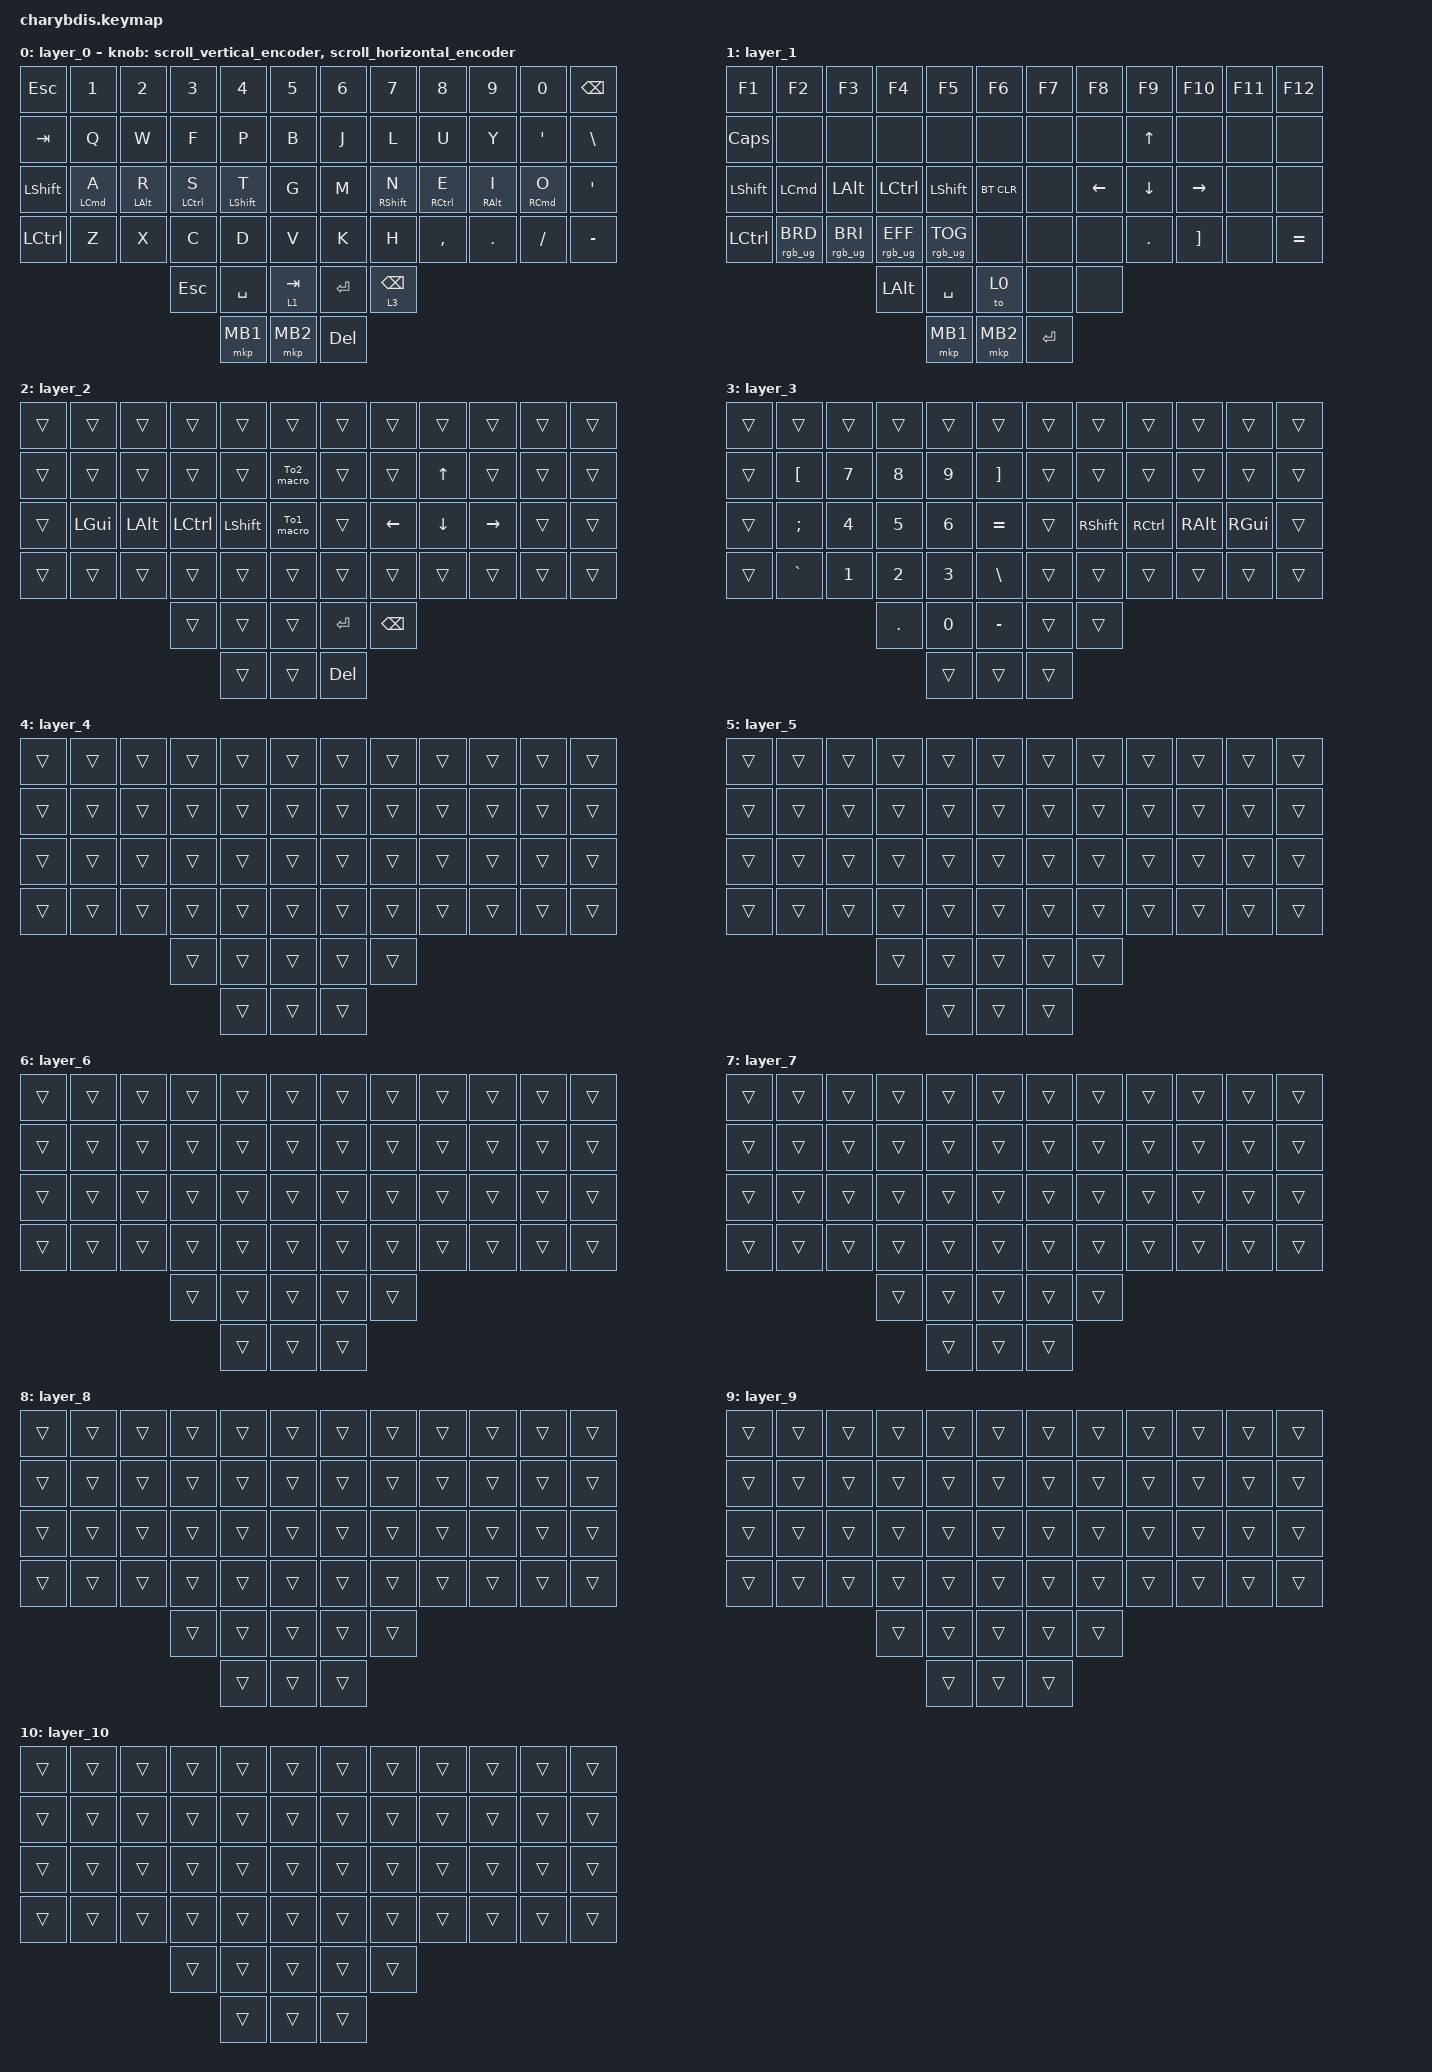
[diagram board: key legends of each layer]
#include <dt-bindings/zmk/mouse.h>
#include <input/processors.dtsi>
#include <zephyr/dt-bindings/input/input-event-codes.h>
#include <behaviors.dtsi>
#include <dt-bindings/zmk/bt.h>
#include <dt-bindings/zmk/keys.h>
#include <dt-bindings/zmk/pointing.h>
#include <dt-bindings/zmk/rgb.h>

#define ZMK_POINTING_DEFAULT_MOVE_VAL 1000 // 600
#define ZMK_POINTING_DEFAULT_SCRL_VAL 12   // 10

&lt {
    tapping-term-ms = <200>;
    flavor = "balanced";
    quick-tap-ms = <150>;
};

&mmv_input_listener { input-processors = <&zip_xy_scaler 2 1>; };

&msc_input_listener { input-processors = <&zip_scroll_scaler 2 1>; };

&msc {
    acceleration-exponent = <0>;      // 0
    time-to-max-speed-ms = <100>;       // 300
    delay-ms = <0>;                   // 0
};

&mmv {
    time-to-max-speed-ms = <500>;
    acceleration-exponent = <1>;
    trigger-period-ms = <16>;
};

/ {
    // 上下滚动编码器行为

    scroll_vertical_encoder: scroll_vertical_encoder {
        compatible = "zmk,behavior-sensor-rotate";
        #sensor-binding-cells = <0>;
        bindings = <&msc SCRL_DOWN>, <&msc SCRL_UP>;

        tap-ms = <100>;
    };

    // 左右滚动编码器行为

    scroll_horizontal_encoder: scroll_horizontal_encoder {
        compatible = "zmk,behavior-sensor-rotate";
        #sensor-binding-cells = <0>;
        bindings = <&msc SCRL_LEFT>, <&msc SCRL_RIGHT>;

        tap-ms = <100>;
    };

    behaviors {
    };

    macros {
        To1_macro: To1_macro {
            compatible = "zmk,behavior-macro";
            label = "To1_macro";
            #binding-cells = <0>;
            bindings = <&kp LEFT_COMMAND &kp LEFT_SHIFT &kp NUMBER_3>;
        };

        To1_macro_A: To1_macro_A {
            compatible = "zmk,behavior-macro";
            label = "To1_macro_A";
            #binding-cells = <0>;
            bindings = <&rgb_ug RGB_COLOR_HSB(128,100,50) &to 1>;
        };

        To0_macro: To0_macro {
            compatible = "zmk,behavior-macro";
            label = "To0_macro";
            #binding-cells = <0>;
            bindings = <&rgb_ug RGB_EFR &to 0>;
        };

        To2_macro_A: To2_macro_A {
            compatible = "zmk,behavior-macro";
            label = "To2_macro_A";
            #binding-cells = <0>;
            bindings = <&kp LEFT_COMMAND &kp LEFT_SHIFT &kp NUMBER_4>;
        };

        To2_macro: To2_macro {
            compatible = "zmk,behavior-macro";
            label = "To2_macro";
            #binding-cells = <0>;
            bindings = <&rgb_ug RGB_EFF &rgb_ug RGB_COLOR_HSB(250,100,50) &to 2>;
        };
    };

    keymap {
        compatible = "zmk,keymap";

        layer_0 {
            bindings = <
&kp ESC         &kp N1              &kp N2          &kp N3              &kp N4            &kp N5       &kp N6     &kp N7             &kp N8               &kp N9           &kp N0               &kp BACKSPACE
&kp TAB         &kp Q               &kp W           &kp F               &kp P             &kp B        &kp J      &kp L              &kp U                &kp Y            &kp SQT              &kp BSLH
&kp LEFT_SHIFT  &mt LEFT_COMMAND A  &mt LEFT_ALT R  &mt LEFT_CONTROL S  &mt LEFT_SHIFT T  &kp G        &kp M      &mt RIGHT_SHIFT N  &mt RIGHT_CONTROL E  &mt RIGHT_ALT I  &mt RIGHT_COMMAND O  &kp SQT
&kp LCTRL       &kp Z               &kp X           &kp C               &kp D             &kp V        &kp K      &kp H              &kp COMMA            &kp PERIOD       &kp FSLH             &kp MINUS
                                                    &kp ESC             &kp SPACE         &lt 1 TAB    &kp ENTER  &lt 3 BACKSPACE
                                                                        &mkp MB1          &mkp MB2     &kp DEL
            >;

            sensor-bindings =
                <&scroll_vertical_encoder>,
                // 编码器1：上下滚动,,,
                <&scroll_horizontal_encoder>;

            // 编码器2：左右滚动
        };

        layer_1 {
            bindings = <
&kp F1          &kp F2            &kp F3           &kp F4            &kp F5           &kp F6        &kp F7     &kp F8    &kp F9      &kp F10            &kp F11  &kp F12
&kp CAPS        &none             &none            &none             &none            &none         &none      &none     &kp UP      &none              &none    &none
&kp LEFT_SHIFT  &kp LEFT_COMMAND  &kp LEFT_ALT     &kp LEFT_CONTROL  &kp LEFT_SHIFT   &bt BT_CLR    &none      &kp LEFT  &kp DOWN    &kp RIGHT          &none    &none
&kp LCTRL       &rgb_ug RGB_BRD   &rgb_ug RGB_BRI  &rgb_ug RGB_EFF   &rgb_ug RGB_TOG  &none         &none      &none     &kp PERIOD  &kp RIGHT_BRACKET  &none    &kp EQUAL
                                                   &kp LEFT_ALT      &kp SPACE        &to 0         &none      &none
                                                                     &mkp MB1         &mkp MB2      &kp ENTER
            >;
        };

        layer_2 {
            bindings = <
&trans  &trans    &trans    &trans     &trans     &trans        &trans      &trans    &trans        &trans     &trans  &trans
&trans  &trans    &trans    &trans     &trans     &To2_macro    &trans      &trans    &kp UP_ARROW  &trans     &trans  &trans
&trans  &kp LGUI  &kp LALT  &kp LCTRL  &kp LSHFT  &To1_macro    &trans      &kp LEFT  &kp DOWN      &kp RIGHT  &trans  &trans
&trans  &trans    &trans    &trans     &trans     &trans        &trans      &trans    &trans        &trans     &trans  &trans
                            &trans     &trans     &trans        &kp ENTER   &kp BSPC
                                       &trans     &trans        &kp DELETE
            >;
        };

        layer_3 {
            bindings = <
&trans  &trans     &trans  &trans   &trans  &trans       &trans  &trans     &trans     &trans    &trans    &trans
&trans  &kp LBKT   &kp N7  &kp N8   &kp N9  &kp RBKT     &trans  &trans     &trans     &trans    &trans    &trans
&trans  &kp SEMI   &kp N4  &kp N5   &kp N6  &kp EQUAL    &trans  &kp RSHFT  &kp RCTRL  &kp RALT  &kp RGUI  &trans
&trans  &kp GRAVE  &kp N1  &kp N2   &kp N3  &kp BSLH     &trans  &trans     &trans     &trans    &trans    &trans
                           &kp DOT  &kp N0  &kp MINUS    &trans  &trans
                                    &trans  &trans       &trans
            >;
        };

        layer_4 {
            bindings = <
&trans  &trans  &trans  &trans  &trans  &trans    &trans  &trans  &trans  &trans  &trans  &trans
&trans  &trans  &trans  &trans  &trans  &trans    &trans  &trans  &trans  &trans  &trans  &trans
&trans  &trans  &trans  &trans  &trans  &trans    &trans  &trans  &trans  &trans  &trans  &trans
&trans  &trans  &trans  &trans  &trans  &trans    &trans  &trans  &trans  &trans  &trans  &trans
                        &trans  &trans  &trans    &trans  &trans
                                &trans  &trans    &trans
            >;
        };

        layer_5 {
            bindings = <
&trans  &trans  &trans  &trans  &trans  &trans    &trans  &trans  &trans  &trans  &trans  &trans
&trans  &trans  &trans  &trans  &trans  &trans    &trans  &trans  &trans  &trans  &trans  &trans
&trans  &trans  &trans  &trans  &trans  &trans    &trans  &trans  &trans  &trans  &trans  &trans
&trans  &trans  &trans  &trans  &trans  &trans    &trans  &trans  &trans  &trans  &trans  &trans
                        &trans  &trans  &trans    &trans  &trans
                                &trans  &trans    &trans
            >;
        };

        layer_6 {
            bindings = <
&trans  &trans  &trans  &trans  &trans  &trans    &trans  &trans  &trans  &trans  &trans  &trans
&trans  &trans  &trans  &trans  &trans  &trans    &trans  &trans  &trans  &trans  &trans  &trans
&trans  &trans  &trans  &trans  &trans  &trans    &trans  &trans  &trans  &trans  &trans  &trans
&trans  &trans  &trans  &trans  &trans  &trans    &trans  &trans  &trans  &trans  &trans  &trans
                        &trans  &trans  &trans    &trans  &trans
                                &trans  &trans    &trans
            >;
        };

        layer_7 {
            bindings = <
&trans  &trans  &trans  &trans  &trans  &trans    &trans  &trans  &trans  &trans  &trans  &trans
&trans  &trans  &trans  &trans  &trans  &trans    &trans  &trans  &trans  &trans  &trans  &trans
&trans  &trans  &trans  &trans  &trans  &trans    &trans  &trans  &trans  &trans  &trans  &trans
&trans  &trans  &trans  &trans  &trans  &trans    &trans  &trans  &trans  &trans  &trans  &trans
                        &trans  &trans  &trans    &trans  &trans
                                &trans  &trans    &trans
            >;
        };

        layer_8 {
            bindings = <
&trans  &trans  &trans  &trans  &trans  &trans    &trans  &trans  &trans  &trans  &trans  &trans
&trans  &trans  &trans  &trans  &trans  &trans    &trans  &trans  &trans  &trans  &trans  &trans
&trans  &trans  &trans  &trans  &trans  &trans    &trans  &trans  &trans  &trans  &trans  &trans
&trans  &trans  &trans  &trans  &trans  &trans    &trans  &trans  &trans  &trans  &trans  &trans
                        &trans  &trans  &trans    &trans  &trans
                                &trans  &trans    &trans
            >;
        };

        layer_9 {
            bindings = <
&trans  &trans  &trans  &trans  &trans  &trans    &trans  &trans  &trans  &trans  &trans  &trans
&trans  &trans  &trans  &trans  &trans  &trans    &trans  &trans  &trans  &trans  &trans  &trans
&trans  &trans  &trans  &trans  &trans  &trans    &trans  &trans  &trans  &trans  &trans  &trans
&trans  &trans  &trans  &trans  &trans  &trans    &trans  &trans  &trans  &trans  &trans  &trans
                        &trans  &trans  &trans    &trans  &trans
                                &trans  &trans    &trans
            >;
        };

        layer_10 {
            bindings = <
&trans  &trans  &trans  &trans  &trans  &trans    &trans  &trans  &trans  &trans  &trans  &trans
&trans  &trans  &trans  &trans  &trans  &trans    &trans  &trans  &trans  &trans  &trans  &trans
&trans  &trans  &trans  &trans  &trans  &trans    &trans  &trans  &trans  &trans  &trans  &trans
&trans  &trans  &trans  &trans  &trans  &trans    &trans  &trans  &trans  &trans  &trans  &trans
                        &trans  &trans  &trans    &trans  &trans
                                &trans  &trans    &trans
            >;
        };

        /* layer_2 {
            bindings = <
&none  &none   &none    &none   &none         &none         &kp N1         &none         &none     &none  &none   &to 0
&none  &none   &none    &none   &none         &none         &none         &none          &rgb_ug RGB_BRD &rgb_ug RGB_BRI  &rgb_ug RGB_EFF   &rgb_ug RGB_TOG
&none  &none   &none    &none   &none         &none         &none         &mkp LCLK     &mkp RCLK  &none  &none   &none
&none  &none   &none    &none   &bt BT_NXT  &bt BT_CLR    &none         &none         &none     &none  &none   &none
                                   &none         &none         &none         &none         &none
                                                 &none         &none         &none
            >;
       
            
        };

       Mouse {
            bindings = <
&none        &none         &none         &none         &none      &none         &none       &none      &none         &none         &none         &none
&none        &bt BT_SEL 0  &bt BT_SEL 1  &bt BT_SEL 3  &none      &bt BT_CLR    &bt BT_CLR  &none      &bt BT_SEL 2  &bt BT_SEL 1  &bt BT_SEL 0  &none
&none        &trans        &trans        &mkp MCLK     &trans     &none         &none       &trans     &mkp MCLK     &trans        &trans        &none
&bootloader  &trans        &mkp RCLK     &mo 4         &mkp LCLK  &mo 5         &mo 5       &mkp LCLK  &mo 4         &mkp RCLK     &trans        &bootloader
                                         &mo 5         &mkp LCLK  &mkp RCLK     &mkp RCLK   &mkp LCLK
                                                       &none      &trans        &trans
            >;

            
        };

        layer_4 {
            bindings = <
&trans  &trans  &trans     &trans     &trans     &trans       &trans     &trans     &trans     &trans     &trans  &trans
&trans  &trans  &trans     &trans     &trans     &trans       &trans     &trans     &trans     &trans     &trans  &trans
&trans  &trans  &trans     &mkp MCLK  &trans     &trans       &trans     &trans     &mkp MCLK  &trans     &trans  &trans
&trans  &trans  &mkp RCLK  &trans     &mkp LCLK  &trans       &trans     &mkp LCLK  &trans     &mkp RCLK  &trans  &trans
                           &trans     &mkp LCLK  &mkp RCLK    &mkp RCLK  &mkp LCLK
                                      &trans     &trans       &trans
            >;
                
                
               
        };

        layer_5 {
            bindings = <
&trans  &trans  &trans     &trans     &trans     &trans       &trans     &trans     &trans     &trans     &trans  &trans
&trans  &trans  &trans     &trans     &trans     &trans       &trans     &trans     &trans     &trans     &trans  &trans
&trans  &trans  &trans     &mkp MCLK  &trans     &trans       &trans     &trans     &mkp MCLK  &trans     &trans  &trans
&trans  &trans  &mkp RCLK  &trans     &mkp LCLK  &trans       &trans     &mkp LCLK  &trans     &mkp RCLK  &trans  &trans
                           &trans     &mkp LCLK  &mkp RCLK    &mkp RCLK  &mkp LCLK
                                      &trans     &trans       &trans
            >;
                
                
        };*/
    };
};
